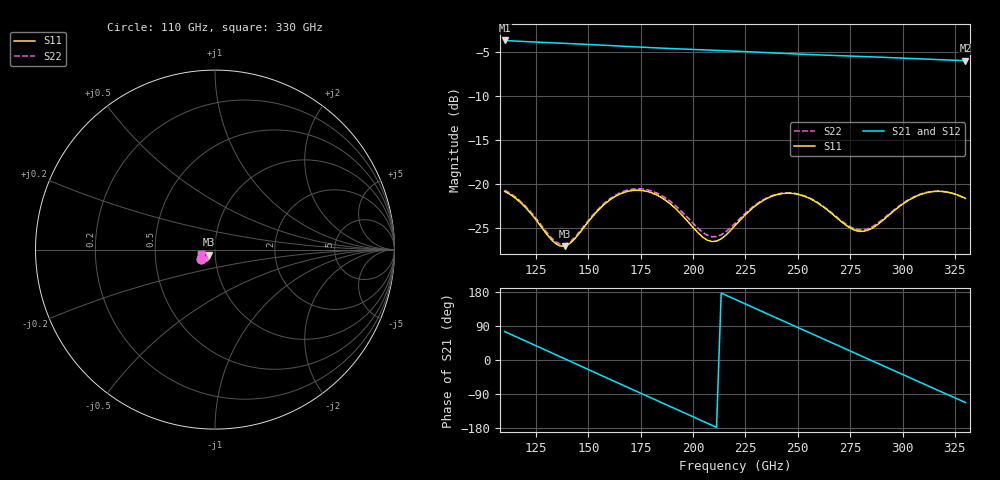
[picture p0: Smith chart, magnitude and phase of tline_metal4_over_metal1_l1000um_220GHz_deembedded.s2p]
! Created with skrf 2.2.0 (http://scikit-rf.org).
# GHz S DB R 50.0
! Port[1] = P1
! Port[2] = P2
!freq dBS11 angS11 dBS21 angS21 dBS12 angS12 dBS22 angS22
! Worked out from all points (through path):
!   101 points, 110 GHz to 330 GHz, reference 50 ohm
!   highest |S21| = -3.73 dB at 110 GHz (marker M1); lowest = -6.0 dB at 330 GHz (marker M2)
!   group delay of S21, straight-line fit = 6.91 ps
!   lowest |S11| = -27.1 dB at 138.6 GHz (marker M3), VSWR 1.09, Z = 46.7 - j2.71 ohm
!   |S11| at or under -10 dB: start of sweep to end of sweep
!   |S22| runs from -26.9 to -20.6 dB; largest |S21 - S12| = 7.1e-14
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110  -20.85 -146.4  -3.73 75.2  -3.73 75.2  -20.72 -145.2
125.4  -24.20 -160.5  -3.91 36.6  -3.91 36.6  -24.03 -159.4
138.6  -27.06 -139.3  -4.06 3.5  -4.06 3.5  -26.86 -138.7
147.4  -25.07 -123.8  -4.15 -18.6  -4.15 -18.6  -24.93 -123.2
158.4  -22.15 -126.9  -4.28 -46.2  -4.28 -46.2  -22.02 -126.0
167.2  -20.95 -137.1  -4.39 -68.2  -4.39 -68.2  -20.81 -136.0
176  -20.76 -148.9  -4.49 -90.2  -4.49 -90.2  -20.58 -147.6
184.8  -21.53 -159.6  -4.59 -112.1  -4.59 -112.1  -21.30 -158.1
202.4  -25.56 -162.1  -4.77 -155.9  -4.77 -155.9  -25.04 -161.2
211.2  -26.48 -144.7  -4.85 -177.8  -4.85 -177.8  -25.97 -145.8
220  -24.74 -131.8  -4.94 160.3  -4.94 160.3  -24.48 -133.6
231  -22.25 -133.8  -5.06 132.9  -5.06 132.9  -22.16 -135.0
239.8  -21.23 -142.1  -5.15 111.0  -5.15 111.0  -21.17 -142.8
248.6  -21.11 -151.7  -5.25 89.2  -5.25 89.2  -21.07 -152.1
257.4  -21.86 -159.9  -5.34 67.4  -5.34 67.4  -21.81 -159.9
268.4  -23.80 -162.9  -5.44 40.2  -5.44 40.2  -23.71 -162.6
277.2  -25.25 -154.4  -5.51 18.4  -5.51 18.4  -25.10 -154.2
286  -24.94 -140.8  -5.59 -3.4  -5.59 -3.4  -24.79 -141.0
294.8  -23.26 -135.0  -5.68 -25.2  -5.68 -25.2  -23.16 -135.4
312.4  -20.94 -145.4  -5.85 -68.8  -5.85 -68.8  -20.91 -145.7
321.2  -20.92 -153.7  -5.94 -90.5  -5.94 -90.5  -20.92 -154.1
330  -21.64 -160.6  -6.02 -112.2  -6.02 -112.2  -21.68 -160.9
